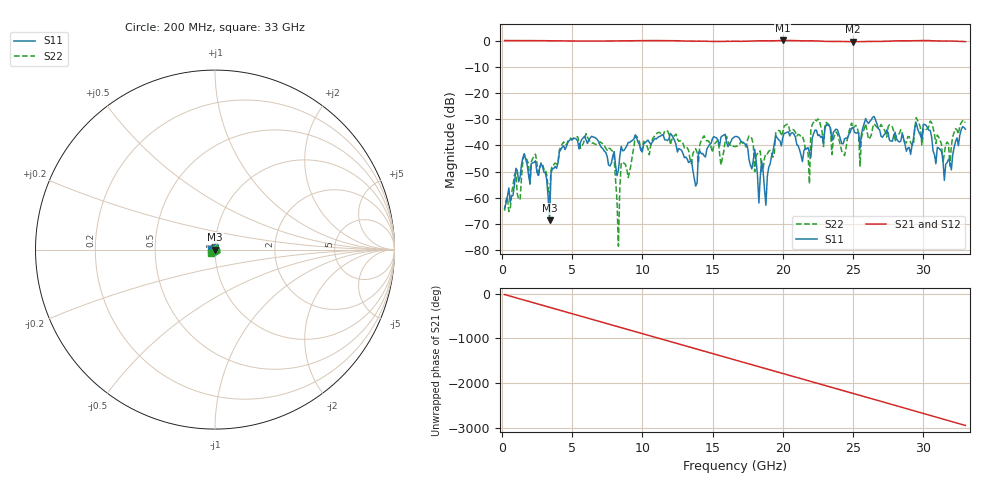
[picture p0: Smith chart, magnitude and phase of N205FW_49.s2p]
# GHZ S RI R 50
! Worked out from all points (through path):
!   329 points, 200 MHz to 33 GHz, reference 50 ohm
!   highest |S21| = 0.03 dB at 20 GHz (marker M1); lowest = -0.5 dB at 25 GHz (marker M2)
!   group delay of S21, straight-line fit = 248 ps
!   lowest |S11| = -68.5 dB at 3.4 GHz (marker M3), VSWR 1.00, Z = 50 + j0.0307 ohm
!   |S11| at or under -10 dB: start of sweep to end of sweep
!   |S22| runs from -78.5 to -29.4 dB; largest |S21 - S12| = 0.0022
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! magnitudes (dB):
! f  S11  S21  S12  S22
! 200 MHz  -64.0  0.0  0.0  -65.0
! 1.6 GHz  -43.2  0.0  0.0  -43.7
! 3.1 GHz  -50.5  -0.1  -0.1  -49.1
! 3.4 GHz  -68.5  -0.1  -0.1  -60.8
! 3.6 GHz  -48.9  -0.1  -0.1  -47.6
! 5.7 GHz  -37.7  -0.2  -0.2  -40.2
! 7.9 GHz  -44.2  -0.2  -0.2  -42.3
! 8.3 GHz  -49.5  -0.1  -0.1  -78.5
! 8.5 GHz  -40.4  -0.1  -0.1  -46.9
! 11.2 GHz  -36.7  0.0  0.0  -35.1
! 13.8 GHz  -55.5  -0.2  -0.2  -41.3
! 16.6 GHz  -36.7  -0.3  -0.3  -40.5
! 18.8 GHz  -62.9  -0.1  -0.1  -43.1
! 20 GHz  -37.1  0.0  0.0  -34.9
! 21.9 GHz  -42.8  -0.1  -0.1  -54.7
! 22.1 GHz  -37.1  -0.1  -0.1  -32.0
! 25 GHz  -33.2  -0.5  -0.5  -33.6
! 25.5 GHz  -41.2  -0.4  -0.4  -47.9
! 27.6 GHz  -38.1  -0.2  -0.2  -32.1
! 30.2 GHz  -32.4  0.0  0.0  -33.9
! 31.5 GHz  -53.4  -0.2  -0.2  -43.3
! 33 GHz  -33.9  -0.4  -0.4  -31.1
